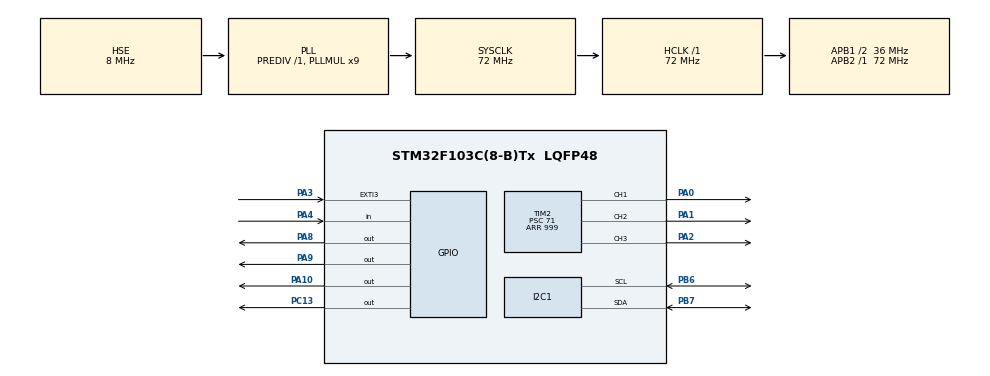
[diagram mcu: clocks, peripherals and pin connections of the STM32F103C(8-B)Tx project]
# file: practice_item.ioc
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Mcu.Family=STM32F1
Mcu.Name=STM32F103C(8-B)Tx
Mcu.Package=LQFP48
NVIC.EXTI3_IRQn=true\:0\:0\:false\:false\:true\:true\:true\:true
NVIC.PriorityGroup=NVIC_PRIORITYGROUP_4
PA0-WKUP.Signal=S_TIM2_CH1_ETR
PA1.Signal=S_TIM2_CH2
PA10.GPIO_PuPd=GPIO_NOPULL
PA10.PinState=GPIO_PIN_SET
PA10.Signal=GPIO_Output
PA13.Mode=Serial_Wire
PA13.Signal=SYS_JTMS-SWDIO
PA14.Mode=Serial_Wire
PA14.Signal=SYS_JTCK-SWCLK
PA2.Signal=S_TIM2_CH3
PA3.GPIO_ModeDefaultEXTI=GPIO_MODE_IT_FALLING
PA3.GPIO_PuPd=GPIO_PULLUP
PA3.Signal=GPXTI3
PA4.GPIO_PuPd=GPIO_PULLUP
PA4.Signal=GPIO_Input
PA8.GPIO_PuPd=GPIO_NOPULL
PA8.PinState=GPIO_PIN_SET
PA8.Signal=GPIO_Output
PA9.GPIO_PuPd=GPIO_NOPULL
PA9.PinState=GPIO_PIN_SET
PA9.Signal=GPIO_Output
PB6.Mode=I2C
PB6.Signal=I2C1_SCL
PB7.Mode=I2C
PB7.Signal=I2C1_SDA
PC13-TAMPER-RTC.GPIO_ModeDefaultOutputPP=GPIO_MODE_OUTPUT_OD
PC13-TAMPER-RTC.GPIO_PuPd=GPIO_NOPULL
PC13-TAMPER-RTC.PinState=GPIO_PIN_SET
PC13-TAMPER-RTC.Signal=GPIO_Output
PD0-OSC_IN.Mode=HSE-External-Oscillator
PD0-OSC_IN.Signal=RCC_OSC_IN
PD1-OSC_OUT.Mode=HSE-External-Oscillator
PD1-OSC_OUT.Signal=RCC_OSC_OUT
ProjectManager.HeapSize=0x200
ProjectManager.StackSize=0x400
ProjectManager.TargetToolchain=MDK-ARM V5.32
RCC.AHBFreq_Value=72000000
RCC.APB1CLKDivider=RCC_HCLK_DIV2
RCC.APB1Freq_Value=36000000
RCC.APB1TimFreq_Value=72000000
RCC.APB2Freq_Value=72000000
RCC.APB2TimFreq_Value=72000000
RCC.HCLKFreq_Value=72000000
RCC.PLLMUL=RCC_PLL_MUL9
RCC.PLLSourceVirtual=RCC_PLLSOURCE_HSE
RCC.SYSCLKFreq_VALUE=72000000
RCC.SYSCLKSource=RCC_SYSCLKSOURCE_PLLCLK
RCC.USBFreq_Value=72000000
SH.S_TIM2_CH1_ETR.0=TIM2_CH1,PWM Generation1 CH1
SH.S_TIM2_CH2.0=TIM2_CH2,PWM Generation2 CH2
SH.S_TIM2_CH3.0=TIM2_CH3,PWM Generation3 CH3
TIM2.Channel-PWM\ Generation1\ CH1=TIM_CHANNEL_1
TIM2.Channel-PWM\ Generation2\ CH2=TIM_CHANNEL_2
TIM2.Channel-PWM\ Generation3\ CH3=TIM_CHANNEL_3
TIM2.Period=999
TIM2.Prescaler=71
VP_TIM2_VS_ClockSourceINT.Mode=Internal
board=custom

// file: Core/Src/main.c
/* USER CODE BEGIN Header */
/**
  ******************************************************************************
  * @file           : main.c
  * @brief          : Main program body
  ******************************************************************************
  * @attention
  *
  * Copyright (c) 2026 STMicroelectronics.
  * All rights reserved.
  *
  * This software is licensed under terms that can be found in the LICENSE file
  * in the root directory of this software component.
  * If no LICENSE file comes with this software, it is provided AS-IS.
  *
  ******************************************************************************
  */
/* USER CODE END Header */
#include "main.h"

/* USER CODE BEGIN Includes */
#include "OLED.h"
/* USER CODE END Includes */

/* USER CODE BEGIN PD */
#define PWM_MAX          300     // PWM 周期最大值
#define RANGE_SIZE       100

// 每段边界
#define MODE0_MAX        RANGE_SIZE- 1
#define MODE1_MIN        RANGE_SIZE
#define MODE1_MAX        (RANGE_SIZE * 2 -1)
#define MODE2_MIN        (RANGE_SIZE * 2 )
#define MODE2_MAX        PWM_MAX - 1
#define SCALE_FACTOR     10
/* USER CODE END PD */

I2C_HandleTypeDef hi2c1;

TIM_HandleTypeDef htim2;

/* USER CODE BEGIN PV */
volatile uint16_t encoder_count = 0;
volatile uint8_t encoder_changed = 0;
uint8_t current_mode = 0;
uint8_t last_mode = 0;
uint16_t led_brightness = 0;
uint16_t breath_speed = 150;  // 呼吸速度
uint16_t flow_speed = 500;    // 流水速度

uint8_t breath_dir = 0;
uint8_t flow_step = 0;
uint32_t last_anim_tick = 0 ;
/* USER CODE END PV */

void SystemClock_Config(void);
static void MX_GPIO_Init(void);
static void MX_I2C1_Init(void);
static void MX_TIM2_Init(void);
/* USER CODE BEGIN PFP */
void OLED_UpdateDisplay(void);
/* USER CODE END PFP */

/* USER CODE BEGIN 0 */
void HAL_GPIO_EXTI_Callback(uint16_t GPIO_Pin)
{
     /*硬件消抖*/
     static uint32_t last_tick = 0;//局部变量
     uint32_t now = HAL_GetTick();
     if (now - last_tick < 10) return ;
     last_tick = now;

    if (GPIO_Pin == GPIO_PIN_3) // 检查是否是我们关心的引脚
    {
        if(HAL_GPIO_ReadPin(GPIOA, GPIO_PIN_4) == GPIO_PIN_SET) // 读取另一个引脚的状态以确定旋转方向
        {
            if(encoder_count < PWM_MAX) encoder_count++; // 顺时针旋转
        }
        else
        {
            if(encoder_count > 0)  encoder_count--; // 逆时针旋转
        }
        encoder_changed = 1 ;
    }

}
/* USER CODE END 0 */

int main(void)
{

  /* MCU Configuration--------------------------------------------------------*/

  /* Reset of all peripherals, Initializes the Flash interface and the Systick. */
  HAL_Init();

  /* Configure the system clock */
  SystemClock_Config();

  /* Initialize all configured peripherals */
  MX_GPIO_Init();
  MX_I2C1_Init();
  MX_TIM2_Init();
  /* USER CODE BEGIN 2 */
  HAL_Delay(500);
  OLED_Init(&hi2c1);

  OLED_ShowString(&hi2c1, 0, 0, "OLED TEST");
  OLED_Refresh(&hi2c1);
  HAL_Delay(2000);

  HAL_TIM_PWM_Start(&htim2, TIM_CHANNEL_1);
  HAL_TIM_PWM_Start(&htim2, TIM_CHANNEL_2);
  HAL_TIM_PWM_Start(&htim2, TIM_CHANNEL_3);
  /* USER CODE END 2 */

  /* Infinite loop */
  /* USER CODE BEGIN WHILE */
  while (1)
  {
     static uint32_t last_oled_tick = 0;
    uint8_t oled_need_refresh = 0;
    if (HAL_GetTick() - last_oled_tick >= 200)
    {
        last_oled_tick = HAL_GetTick();
        oled_need_refresh = 1;
    }

       if(encoder_changed){
      encoder_changed = 0;
      if(encoder_count <= MODE0_MAX){
        current_mode = 0;
      }else if(encoder_count <= MODE1_MAX && encoder_count>= MODE1_MIN ){
        current_mode = 1;
        led_brightness = 0;    // 进入呼吸模式，亮度从 0 开始
        breath_dir = 0;
      } else {
        current_mode = 2;
      }
      if(current_mode == 0){
        led_brightness = encoder_count;
      }else if(current_mode == 1){
        breath_speed = (encoder_count - MODE1_MIN) * SCALE_FACTOR;  // 只存速度
      }else {
        flow_speed = (encoder_count - MODE2_MIN) * SCALE_FACTOR;
      }
    }

                  /*------------*/
    uint32_t now = HAL_GetTick();
    if(current_mode  == 0){
      __HAL_TIM_SET_COMPARE(&htim2,TIM_CHANNEL_1,led_brightness);
      __HAL_TIM_SET_COMPARE(&htim2,TIM_CHANNEL_2,led_brightness);
      __HAL_TIM_SET_COMPARE(&htim2,TIM_CHANNEL_3,led_brightness);
    }
    else
    if (current_mode == 1){
      uint16_t speed = 150 - (breath_speed / 7);
      if (speed < 10) speed = 10;
      if(now - last_anim_tick >= speed ){
        last_anim_tick = now;
        if(breath_dir == 0 ){
          led_brightness += 2;
          if(led_brightness >= PWM_MAX) breath_dir = 1;
        }
        else
        {
        led_brightness-=2;
        if(led_brightness == 0) breath_dir = 0;
        }
      __HAL_TIM_SET_COMPARE(&htim2,TIM_CHANNEL_1,led_brightness);
      __HAL_TIM_SET_COMPARE(&htim2,TIM_CHANNEL_2,led_brightness);
      __HAL_TIM_SET_COMPARE(&htim2,TIM_CHANNEL_3,led_brightness);
      }
    }
    else{
      uint16_t speed = 500 - (flow_speed / 2);
      if (speed < 50) speed = 50;                    // 最低 50ms

        if(now - last_anim_tick >= speed)
      {
        last_anim_tick = now;
        flow_step = (flow_step + 1) % 3;
      __HAL_TIM_SET_COMPARE(&htim2,TIM_CHANNEL_1,(flow_step == 0)? PWM_MAX : 0);
      __HAL_TIM_SET_COMPARE(&htim2,TIM_CHANNEL_2,(flow_step == 1)? PWM_MAX : 0);
      __HAL_TIM_SET_COMPARE(&htim2,TIM_CHANNEL_3,(flow_step == 2)? PWM_MAX : 0);
      }
    }
        if (oled_need_refresh)
        OLED_UpdateDisplay();
    /* USER CODE END WHILE */

  }
}

void SystemClock_Config(void)
{
  RCC_OscInitTypeDef RCC_OscInitStruct = {0};
  RCC_ClkInitTypeDef RCC_ClkInitStruct = {0};

  /** Initializes the RCC Oscillators according to the specified parameters
  * in the RCC_OscInitTypeDef structure.
  */
  RCC_OscInitStruct.OscillatorType = RCC_OSCILLATORTYPE_HSE;
  RCC_OscInitStruct.HSEState = RCC_HSE_ON;
  RCC_OscInitStruct.HSEPredivValue = RCC_HSE_PREDIV_DIV1;
  RCC_OscInitStruct.HSIState = RCC_HSI_ON;
  RCC_OscInitStruct.PLL.PLLState = RCC_PLL_ON;
  RCC_OscInitStruct.PLL.PLLSource = RCC_PLLSOURCE_HSE;
  RCC_OscInitStruct.PLL.PLLMUL = RCC_PLL_MUL9;
  if (HAL_RCC_OscConfig(&RCC_OscInitStruct) != HAL_OK)
  {
    Error_Handler();
  }

  /** Initializes the CPU, AHB and APB buses clocks
  */
  RCC_ClkInitStruct.ClockType = RCC_CLOCKTYPE_HCLK|RCC_CLOCKTYPE_SYSCLK
                              |RCC_CLOCKTYPE_PCLK1|RCC_CLOCKTYPE_PCLK2;
  RCC_ClkInitStruct.SYSCLKSource = RCC_SYSCLKSOURCE_PLLCLK;
  RCC_ClkInitStruct.AHBCLKDivider = RCC_SYSCLK_DIV1;
  RCC_ClkInitStruct.APB1CLKDivider = RCC_HCLK_DIV2;
  RCC_ClkInitStruct.APB2CLKDivider = RCC_HCLK_DIV1;

  if (HAL_RCC_ClockConfig(&RCC_ClkInitStruct, FLASH_LATENCY_2) != HAL_OK)
  {
    Error_Handler();
  }
}

static void MX_I2C1_Init(void)
{

  hi2c1.Instance = I2C1;
  hi2c1.Init.ClockSpeed = 100000;
  hi2c1.Init.DutyCycle = I2C_DUTYCYCLE_2;
  hi2c1.Init.OwnAddress1 = 0;
  hi2c1.Init.AddressingMode = I2C_ADDRESSINGMODE_7BIT;
  hi2c1.Init.DualAddressMode = I2C_DUALADDRESS_DISABLE;
  hi2c1.Init.OwnAddress2 = 0;
  hi2c1.Init.GeneralCallMode = I2C_GENERALCALL_DISABLE;
  hi2c1.Init.NoStretchMode = I2C_NOSTRETCH_DISABLE;
  if (HAL_I2C_Init(&hi2c1) != HAL_OK)
  {
    Error_Handler();
  }

}

static void MX_TIM2_Init(void)
{

  TIM_ClockConfigTypeDef sClockSourceConfig = {0};
  TIM_MasterConfigTypeDef sMasterConfig = {0};
  TIM_OC_InitTypeDef sConfigOC = {0};

  htim2.Instance = TIM2;
  htim2.Init.Prescaler = 71;
  htim2.Init.CounterMode = TIM_COUNTERMODE_UP;
  htim2.Init.Period = 999;
  htim2.Init.ClockDivision = TIM_CLOCKDIVISION_DIV1;
  htim2.Init.AutoReloadPreload = TIM_AUTORELOAD_PRELOAD_DISABLE;
  if (HAL_TIM_Base_Init(&htim2) != HAL_OK)
  {
    Error_Handler();
  }
  sClockSourceConfig.ClockSource = TIM_CLOCKSOURCE_INTERNAL;
  if (HAL_TIM_ConfigClockSource(&htim2, &sClockSourceConfig) != HAL_OK)
  {
    Error_Handler();
  }
  if (HAL_TIM_PWM_Init(&htim2) != HAL_OK)
  {
    Error_Handler();
  }
  sMasterConfig.MasterOutputTrigger = TIM_TRGO_RESET;
  sMasterConfig.MasterSlaveMode = TIM_MASTERSLAVEMODE_DISABLE;
  if (HAL_TIMEx_MasterConfigSynchronization(&htim2, &sMasterConfig) != HAL_OK)
  {
    Error_Handler();
  }
  sConfigOC.OCMode = TIM_OCMODE_PWM1;
  sConfigOC.Pulse = 0;
  sConfigOC.OCPolarity = TIM_OCPOLARITY_HIGH;
  sConfigOC.OCFastMode = TIM_OCFAST_DISABLE;
  if (HAL_TIM_PWM_ConfigChannel(&htim2, &sConfigOC, TIM_CHANNEL_1) != HAL_OK)
  {
    Error_Handler();
  }
  if (HAL_TIM_PWM_ConfigChannel(&htim2, &sConfigOC, TIM_CHANNEL_2) != HAL_OK)
  {
    Error_Handler();
  }
  if (HAL_TIM_PWM_ConfigChannel(&htim2, &sConfigOC, TIM_CHANNEL_3) != HAL_OK)
  {
    Error_Handler();
  }
  HAL_TIM_MspPostInit(&htim2);

}

static void MX_GPIO_Init(void)
{
  GPIO_InitTypeDef GPIO_InitStruct = {0};

  /* GPIO Ports Clock Enable */
  __HAL_RCC_GPIOD_CLK_ENABLE();
  __HAL_RCC_GPIOA_CLK_ENABLE();
  __HAL_RCC_GPIOB_CLK_ENABLE();

  /*Configure GPIO pin Output Level */
  HAL_GPIO_WritePin(GPIOA, GPIO_PIN_8|GPIO_PIN_9|GPIO_PIN_10, GPIO_PIN_SET);

  /*Configure GPIO pin : PA3 */
  GPIO_InitStruct.Pin = GPIO_PIN_3;
  GPIO_InitStruct.Mode = GPIO_MODE_IT_FALLING;
  GPIO_InitStruct.Pull = GPIO_PULLUP;
  HAL_GPIO_Init(GPIOA, &GPIO_InitStruct);

  /*Configure GPIO pin : PA4 */
  GPIO_InitStruct.Pin = GPIO_PIN_4;
  GPIO_InitStruct.Mode = GPIO_MODE_INPUT;
  GPIO_InitStruct.Pull = GPIO_PULLUP;
  HAL_GPIO_Init(GPIOA, &GPIO_InitStruct);

  /*Configure GPIO pins : PA8 PA9 PA10 */
  GPIO_InitStruct.Pin = GPIO_PIN_8|GPIO_PIN_9|GPIO_PIN_10;
  GPIO_InitStruct.Mode = GPIO_MODE_OUTPUT_PP;
  GPIO_InitStruct.Pull = GPIO_NOPULL;
  GPIO_InitStruct.Speed = GPIO_SPEED_FREQ_LOW;
  HAL_GPIO_Init(GPIOA, &GPIO_InitStruct);

  /* EXTI interrupt init*/
  HAL_NVIC_SetPriority(EXTI3_IRQn, 0, 0);
  HAL_NVIC_EnableIRQ(EXTI3_IRQn);

}

/* USER CODE BEGIN 4 */
void OLED_UpdateDisplay(void)   // ← 注意函数名改成和声明一致
{
    char buf[22];
    uint8_t percentage, filled, i;

    OLED_Clear(&hi2c1);

    OLED_ShowString(&hi2c1, 0, 0, "==LED Controller==");

    if (current_mode == 0)
        sprintf(buf, "Mode:0 [Normal]");
    else if (current_mode == 1)
        sprintf(buf, "Mode:1 [Breath]");
    else
        sprintf(buf, "Mode:2 [Flow]");

    OLED_ShowString(&hi2c1, 0, 16, buf);

    sprintf(buf, "Bright: %d", led_brightness);
    OLED_ShowString(&hi2c1, 0, 24, buf);

    percentage = (led_brightness * 100) / PWM_MAX;
    filled = (led_brightness * 14) / PWM_MAX;

    OLED_ShowChar(&hi2c1, 0, 32, '[', 6);
    for (i = 0; i < 14; i++)
    {
        OLED_ShowChar(&hi2c1, 6 + i * 6, 32, (i < filled) ? '=' : ' ', 6);
    }
    OLED_ShowChar(&hi2c1, 6 + 14 * 6, 32, ']', 6);
    sprintf(buf, "%3d%%", percentage);
    OLED_ShowString(&hi2c1, 6 + 15 * 6, 32, buf);

    sprintf(buf, "Enc: %d", encoder_count);
    OLED_ShowString(&hi2c1, 0, 56, buf);

    OLED_Refresh(&hi2c1);
}
/*
void OLED_UpdateDisplay(void){
  char buf[22];
  uint8_t percentage,filled,i;

  OLED_Clear(&hi2c1);

  OLED_ShowString(&hi2c1,0,0,"==LED Controller==");
  if(current_mode == 0){
    sprintf(buf,"Mode:0 [%s]","常亮");
  }

    else if(current_mode == 1){
      sprintf(buf,"Mode:1 [%s]","呼吸灯");
    }else
{sprintf(buf,"Mode:2 [%s]","流水灯");}

      OLED_ShowString(&hi2c1,0,16,buf);

      sprintf(buf,"bright: [%d]",led_brightness);

    OLED_ShowString(&hi2c1,0,24,buf);

    percentage = (led_brightness * 100)/PWM_MAX;
    filled = (led_brightness * 14)/PWM_MAX;
    OLED_ShowChar(&hi2c1,0,32,'[',6);
    for(i = 0;i<14;i++){
      OLED_ShowChar(&hi2c1,6+i*6,32,(i<filled)?'=':' ',6);
      sprintf(buf,"%3d%%",percentage);
      OLED_ShowString(&hi2c1,6+15*6,32,buf);

      sprintf(buf,"Enc:%d",encoder_count);
      OLED_ShowString(&hi2c1,0,56,buf);

      OLED_Refresh(&hi2c1);
    }
  }*/

/* USER CODE END 4 */

void Error_Handler(void)
{
  __disable_irq();
  while (1)
  {
  }
}
